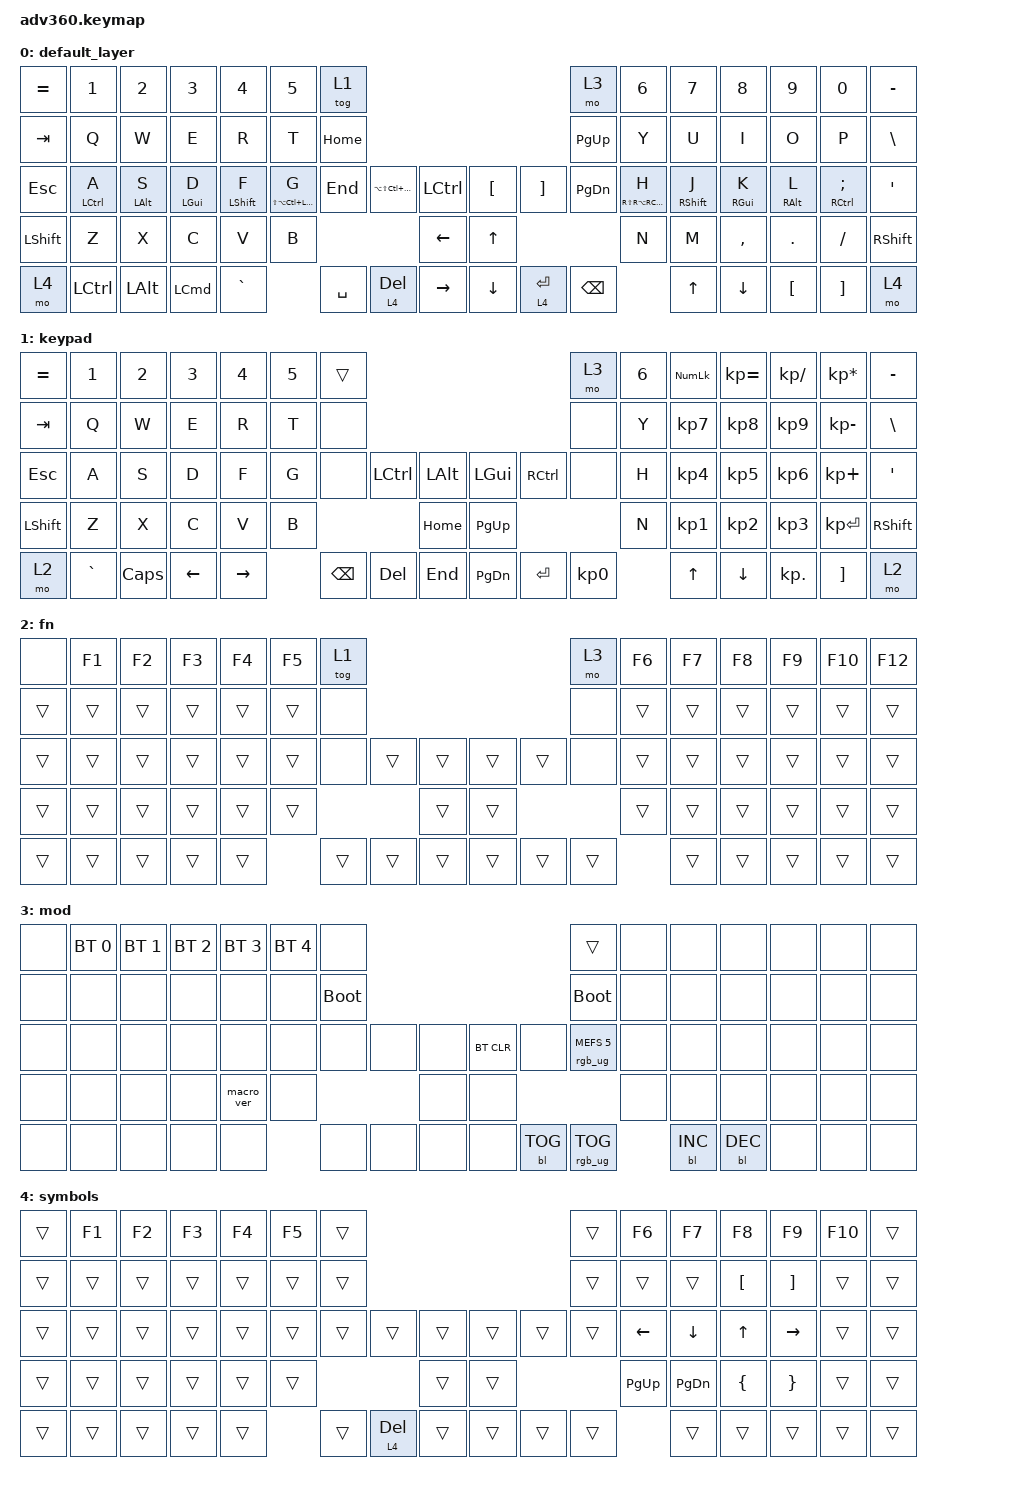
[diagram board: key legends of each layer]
#include <behaviors.dtsi>
#include <dt-bindings/zmk/backlight.h>
#include <dt-bindings/zmk/bt.h>
#include <dt-bindings/zmk/keys.h>
#include <dt-bindings/zmk/rgb.h>

/ {
    behaviors {
        #include "macros.dtsi"
      #include "version.dtsi"
      #ifndef VERSION_MACRO

        macro_ver: macro_ver {
            compatible = "zmk,behavior-macro";
            label = "macro_version";
            #binding-cells = <0>;
            bindings = <&kp RET>;
        };

        #endif

        hml: hml {
            compatible = "zmk,behavior-hold-tap";
            label = "HML";
            #binding-cells = <2>;
            tapping-term-ms = <220>;
            quick_tap_ms = <0>;
            flavor = "balanced";
            bindings = <&kp>, <&kp>;

            hold-trigger-key-positions = <7 8 9 10 11 12 13 21 22 23 24 25 26 27 39 40 41 42 43 44 45 54 55 56 57 58 59 71 72 73 74 75 69 70 66 65>;
            hold-trigger-on-release;
            quick-tap-ms = <175>;
            require-prior-idle-ms = <150>;
        };

        hmr: hmr {
            compatible = "zmk,behavior-hold-tap";
            label = "HMR";
            #binding-cells = <2>;
            tapping-term-ms = <220>;
            quick_tap_ms = <0>;
            flavor = "balanced";
            bindings = <&kp>, <&kp>;

            hold-trigger-key-positions = <0 1 2 3 4 5 6 14 15 16 17 18 19 20 28 29 30 31 32 33 34 46 47 48 49 50 51 60 61 62 63 64 65 66 69 70>;
            hold-trigger-on-release;
            quick-tap-ms = <175>;
            require-prior-idle-ms = <150>;
        };

        hmls: hmls {
            compatible = "zmk,behavior-hold-tap";
            label = "HMLS";
            #binding-cells = <2>;
            tapping-term-ms = <190>;
            quick_tap_ms = <0>;
            flavor = "balanced";
            bindings = <&kp>, <&kp>;

            hold-trigger-key-positions = <7 8 9 10 11 12 13 21 22 23 24 25 26 27 39 40 41 42 43 44 45 54 55 56 57 58 59 71 72 73 74 75 69 70 66 65>;
            hold-trigger-on-release;
            quick-tap-ms = <175>;
            require-prior-idle-ms = <150>;
        };

        hmrs: hmrs {
            compatible = "zmk,behavior-hold-tap";
            label = "HMRS";
            #binding-cells = <2>;
            tapping-term-ms = <190>;
            quick_tap_ms = <0>;
            flavor = "balanced";
            bindings = <&kp>, <&kp>;

            hold-trigger-key-positions = <0 1 2 3 4 5 6 14 15 16 17 18 19 20 28 29 30 31 32 33 34 46 47 48 49 50 51 60 61 62 63 64 65 66 69 70>;
            hold-trigger-on-release;
            quick-tap-ms = <175>;
            require-prior-idle-ms = <150>;
        };
    };

    macros {
    };

    combos {
        compatible = "zmk,combos";

        tilde {
            bindings = <&kp TILDE>;
            key-positions = <32 50>;
            layers = <0>;
        };

        left-bracket {
            bindings = <&kp LEFT_BRACKET>;
            key-positions = <49 50>;
        };

        right-bracket {
            bindings = <&kp RIGHT_BRACKET>;
            key-positions = <55 56>;
        };

        grave {
            bindings = <&kp GRAVE>;
            key-positions = <18 32>;
        };
    };

    keymap {
        compatible = "zmk,keymap";

        default_layer {
            bindings = <
&kp EQUAL  &kp NUMBER_1      &kp N2           &kp N3           &kp N4              &kp N5                       &tog 1                                                                                           &mo 3          &kp N6                        &kp N7               &kp N8            &kp N9            &kp N0           &kp MINUS
&kp TAB    &kp Q             &kp W            &kp E            &kp R               &kp T                        &kp HOME                                                                                         &kp PAGE_UP    &kp Y                         &kp U                &kp I             &kp O             &kp P            &kp BSLH
&kp ESC    &hml LCTRL A      &hml LEFT_ALT S  &hml LEFT_GUI D  &hmls LEFT_SHIFT F  &hml LS(LA(LC(LEFT_GUI))) G  &kp END    &kp LA(LS(LC(LG(LCTRL))))  &kp LEFT_CONTROL      &kp LEFT_BRACKET  &kp RIGHT_BRACKET  &kp PAGE_DOWN  &hmr RS(RA(RC(RIGHT_GUI))) H  &hmrs RIGHT_SHIFT J  &hmr RIGHT_GUI K  &hmr RIGHT_ALT L  &hmr RCTRL SEMI  &kp SQT
&kp LSHFT  &kp Z             &kp X            &kp C            &kp V               &kp B                                                              &kp LEFT_ARROW        &kp UP_ARROW                                        &kp N                         &kp M                &kp COMMA         &kp DOT           &kp FSLH         &kp RSHFT
&mo 4      &kp LEFT_CONTROL  &kp LEFT_ALT     &kp LCMD         &kp GRAVE                                        &kp SPACE  &lt 4 DELETE               &kp RIGHT             &kp DOWN          &lt 4 ENTER        &kp BACKSPACE                                &kp UP               &kp DOWN          &kp LBKT          &kp RBKT         &mo 4
            >;
        };

        keypad {
            bindings = <
&kp EQUAL  &kp N1     &kp N2    &kp N3    &kp N4     &kp N5  &trans                                                   &mo 3      &kp N6  &kp KP_NUM  &kp KP_EQUAL  &kp KP_DIVIDE  &kp KP_MULTIPLY  &kp MINUS
&kp TAB    &kp Q      &kp W     &kp E     &kp R      &kp T   &none                                                    &none      &kp Y   &kp KP_N7   &kp KP_N8     &kp KP_N9      &kp KP_MINUS     &kp BSLH
&kp ESC    &kp A      &kp S     &kp D     &kp F      &kp G   &none     &kp LCTRL  &kp LALT      &kp LGUI   &kp RCTRL  &none      &kp H   &kp KP_N4   &kp KP_N5     &kp KP_N6      &kp KP_PLUS      &kp SQT
&kp LSHFT  &kp Z      &kp X     &kp C     &kp V      &kp B                        &kp HOME      &kp PG_UP                        &kp N   &kp KP_N1   &kp KP_N2     &kp KP_N3      &kp KP_ENTER     &kp RSHFT
&mo 2      &kp GRAVE  &kp CAPS  &kp LEFT  &kp RIGHT          &kp BSPC  &kp DEL    &kp END       &kp PG_DN  &kp ENTER  &kp KP_N0          &kp UP      &kp DOWN      &kp KP_DOT     &kp RBKT         &mo 2
            >;
        };

        fn {
            bindings = <
&none   &kp F1  &kp F2  &kp F3  &kp F4  &kp F5  &tog 1                                      &mo 3   &kp F6  &kp F7  &kp F8  &kp F9  &kp F10  &kp F12
&trans  &trans  &trans  &trans  &trans  &trans  &none                                       &none   &trans  &trans  &trans  &trans  &trans   &trans
&trans  &trans  &trans  &trans  &trans  &trans  &none   &trans  &trans      &trans  &trans  &none   &trans  &trans  &trans  &trans  &trans   &trans
&trans  &trans  &trans  &trans  &trans  &trans                  &trans      &trans                  &trans  &trans  &trans  &trans  &trans   &trans
&trans  &trans  &trans  &trans  &trans          &trans  &trans  &trans      &trans  &trans  &trans          &trans  &trans  &trans  &trans   &trans
            >;
        };

        mod {
            bindings = <
&none  &bt BT_SEL 0  &bt BT_SEL 1  &bt BT_SEL 2  &bt BT_SEL 3  &bt BT_SEL 4  &none                                                  &trans                  &none  &none       &none       &none  &none  &none
&none  &none         &none         &none         &none         &none         &bootloader                                            &bootloader             &none  &none       &none       &none  &none  &none
&none  &none         &none         &none         &none         &none         &none        &none  &none      &bt BT_CLR  &none       &rgb_ug RGB_MEFS_CMD 5  &none  &none       &none       &none  &none  &none
&none  &none         &none         &none         &macro_ver    &none                             &none      &none                                           &none  &none       &none       &none  &none  &none
&none  &none         &none         &none         &none                       &none        &none  &none      &none       &bl BL_TOG  &rgb_ug RGB_TOG                &bl BL_INC  &bl BL_DEC  &none  &none  &none
            >;
        };

        symbols {
            bindings = <
&trans  &kp F1  &kp F2  &kp F3  &kp F4  &kp F5  &trans                                            &trans  &kp F6          &kp F7          &kp F8            &kp F9             &kp F10  &trans
&trans  &trans  &trans  &trans  &trans  &trans  &trans                                            &trans  &trans          &trans          &kp LEFT_BRACKET  &kp RIGHT_BRACKET  &trans   &trans
&trans  &trans  &trans  &trans  &trans  &trans  &trans  &trans        &trans      &trans  &trans  &trans  &kp LEFT_ARROW  &kp DOWN_ARROW  &kp UP_ARROW      &kp RIGHT          &trans   &trans
&trans  &trans  &trans  &trans  &trans  &trans                        &trans      &trans                  &kp PAGE_UP     &kp PAGE_DOWN   &kp LEFT_BRACE    &kp RIGHT_BRACE    &trans   &trans
&trans  &trans  &trans  &trans  &trans          &trans  &lt 4 DELETE  &trans      &trans  &trans  &trans                  &trans          &trans            &trans             &trans   &trans
            >;
        };
    };
};
